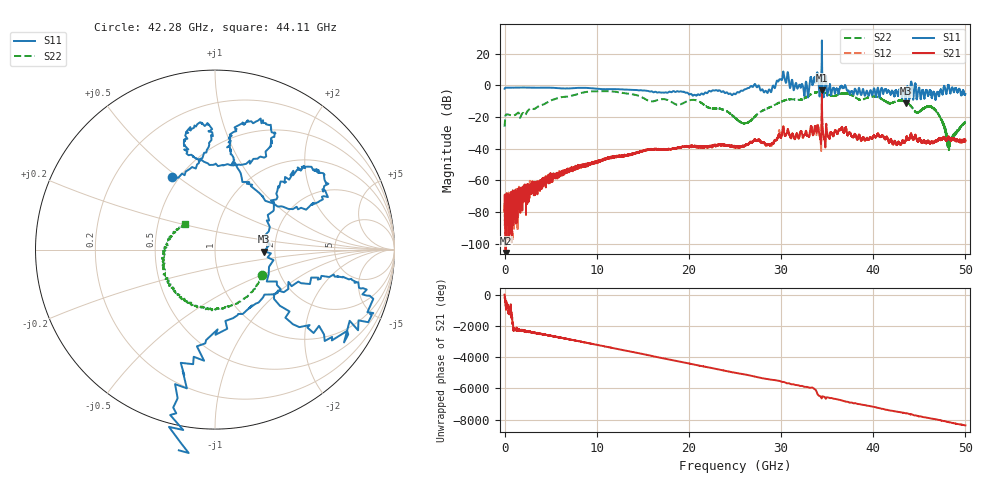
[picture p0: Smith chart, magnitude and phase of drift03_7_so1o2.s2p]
!Created with skrf (http://scikit-rf.org).
# Hz S RI R 50.0
!freq ReS11 ImS11 ReS21 ImS21 ReS12 ImS12 ReS22 ImS22
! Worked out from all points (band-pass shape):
!   10000 points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, 5.3 MHz to 50 GHz, reference 50 ohm
!   highest |S21| = -3.15 dB at 34.43 GHz (marker M1); lowest = -105.9 dB at 110.3 MHz (marker M2)
!   |S21| within 3 dB of the highest: 34.42743 GHz to 34.43514 GHz (7.717 MHz wide, 0.0224 % of centre)
!   lowest |S11| = -11.2 dB at 43.53 GHz (marker M3), VSWR 1.75, Z = 87.6 - j2.07 ohm
!   |S11| at or under -10 dB: 43.50998 GHz to 43.54295 GHz (32.96 MHz wide, 0.0757 % of centre); 43.54987 GHz to 43.55024 GHz (364.6 kHz wide, 0.000837 % of centre)
!   |S22| runs from -40.9 to -3.6 dB; largest |S21 - S12| = 0.22
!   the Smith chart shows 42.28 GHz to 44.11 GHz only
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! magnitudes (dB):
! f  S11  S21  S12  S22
! 5.3 MHz  -2.1  -78.7  -80.1  -26.1
! 110.3 MHz  -1.5  -105.9  -93.9  -18.8
! 2.99 GHz  -1.4  -63.7  -65.8  -14.5
! 8.34 GHz  -1.5  -51.1  -50.5  -4.7
! 16.67 GHz  -4.4  -40.3  -40.4  -9.1
! 20.72 GHz  -6.2  -38.9  -38.4  -9.3
! 25.01 GHz  -5.5  -39.0  -38.9  -20.6
! 26.27 GHz  -2.1  -37.3  -37.6  -23.8
! 28.72 GHz  -2.5  -37.7  -37.7  -14.0
! 30.14 GHz  4.4  -29.4  -29.8  -10.0
! 32.74 GHz  2.1  -29.4  -29.1  -7.4
! 33.34 GHz  2.6  -27.3  -27.6  -5.3
! 33.82 GHz  3.9  -28.9  -29.4  -4.3
! 34.43 GHz  28.4  -3.2  -5.0  -4.0
! 36.48 GHz  -0.5  -28.0  -27.9  -5.3
! 41.67 GHz  -3.3  -35.5  -35.5  -11.0
! 43.53 GHz  -11.2  -34.3  -34.5  -10.2
! 44.74 GHz  -8.5  -34.4  -34.6  -17.3
! 46.64 GHz  -4.9  -35.9  -35.3  -15.2
! 47.5 GHz  -5.4  -33.3  -33.3  -22.9
! 48.24 GHz  -1.3  -33.5  -33.3  -37.4
! 50 GHz  -5.4  -35.1  -35.3  -23.1
